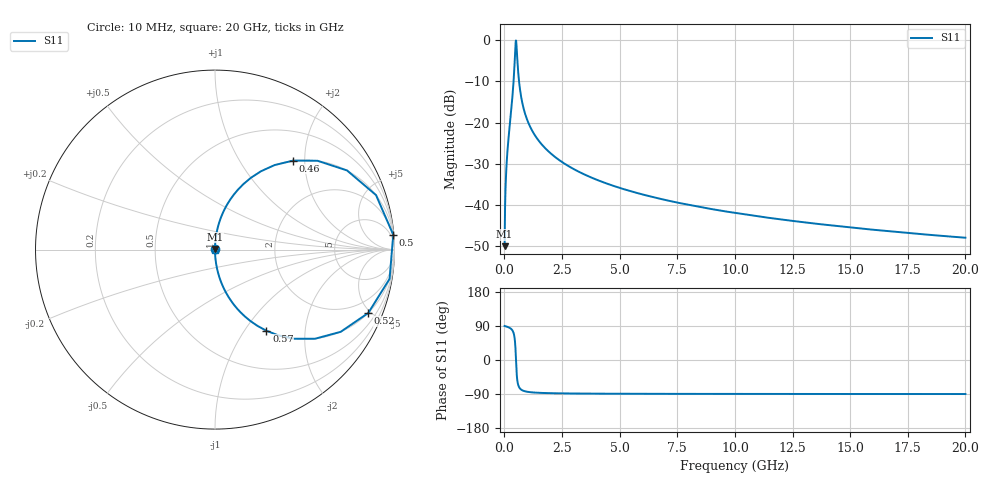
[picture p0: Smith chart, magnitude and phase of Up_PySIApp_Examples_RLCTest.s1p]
# MHz MA S R 50.0
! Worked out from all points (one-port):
!   2000 points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, 10 MHz to 20 GHz, reference 50 ohm
!   lowest |S11| = -50.1 dB at 10 MHz (marker M1), VSWR 1.01, Z = 50 + j0.314 ohm
!   |S11| at or under -10 dB: start of sweep to 397.8 MHz; 636.7 MHz to end of sweep
!   S11 on the Smith chart (normalised r, x): 10 MHz: 1.00, +0.01; 460 MHz: 1.00, +1.76; 500 MHz: 1, +24; 520 MHz: 1.00, -4.84; 570 MHz: 1.00, -1.27; 20 GHz: 1.00, -0.01
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10  0.003143 89.8
140  0.04762 87.3
250  0.1037 84.0
330  0.1789 79.7
370  0.2452 75.8
400  0.3229 71.2
430  0.4474 63.4
460  0.6597 48.7
500  0.9966 4.7
520  0.9242 -22.4
570  0.5352 -57.6
600  0.4085 -65.9
620  0.3522 -69.4
650  0.2924 -73.0
700  0.2291 -76.8
850  0.1427 -81.8
1080  0.09371 -84.6
1330  0.06966 -86.0
1650  0.0531 -87.0
2510  0.03301 -88.1
3600  0.02254 -88.7
5010  0.01604 -89.1
7510  0.01064 -89.4
10010  0.00797 -89.5
12510  0.006371 -89.6
15010  0.005308 -89.7
17510  0.004548 -89.7
20000  0.003981 -89.8
